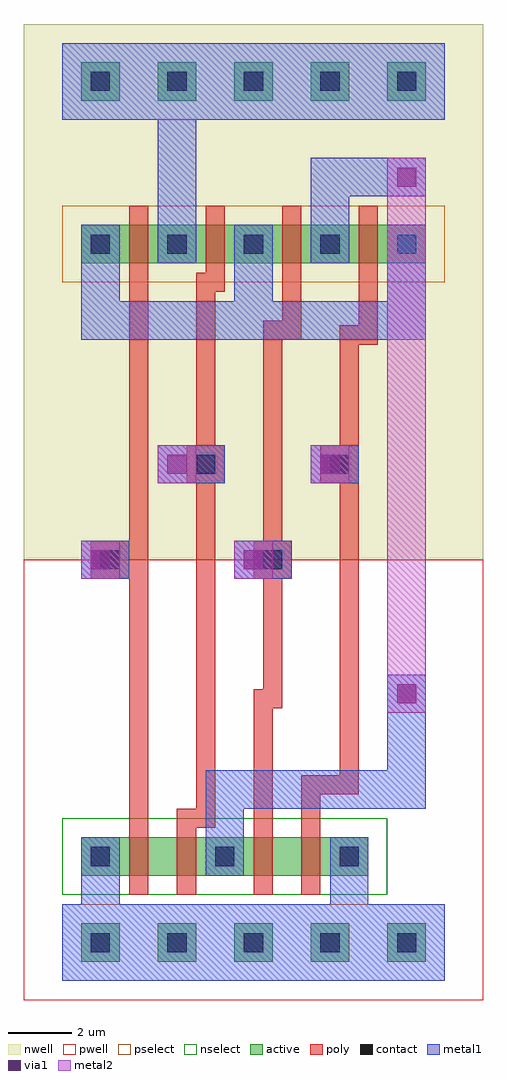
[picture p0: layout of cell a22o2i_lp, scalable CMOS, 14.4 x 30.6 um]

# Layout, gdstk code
import gdstk
lib = gdstk.Library(unit=1e-6, precision=1e-09)
def R(c, l, rs):  # rectangles x0, y0, x1, y1
    for r in rs: c.add(gdstk.rectangle(r[:2], r[2:], *l))
def A(c, l, x, y, w, h, nx, ny, dx, dy):  # array of equal rectangles
    R(c, l, [(x+i*dx, y+j*dy, x+i*dx+w, y+j*dy+h) for i in range(nx) for j in range(ny)])
contact = (25, 0)
pwell = (41, 0)
nwell = (42, 0)
active = (43, 0)
pselect = (44, 0)
nselect = (45, 0)
poly = (46, 0)
metal1 = (49, 0)
via1 = (50, 0)
metal2 = (51, 0)

a22o2i_lp = lib.new_cell('a22o2i_lp')
A(a22o2i_lp, contact, 0.3, -0.3, 0.6, 0.6, 5, 2, 2.4, 21.9)
A(a22o2i_lp, contact, 0.3, 2.4, 0.6, 0.6, 3, 1, 3.9, 0)
A(a22o2i_lp, contact, 0.3, 26.7, 0.6, 0.6, 5, 1, 2.4, 0)
R(a22o2i_lp, contact, [(0.6,11.7,1.2,12.3), (5.7,11.7,6.3,12.3), (3.6,14.7,4.2,15.3), (7.8,14.7,8.4,15.3)])
A(a22o2i_lp, pwell, -0.9, -1.5, 3, 3, 5, 1, 2.4, 0)
A(a22o2i_lp, pwell, -1.8, 0.3, 4.8, 4.8, 3, 1, 3.9, 0)
R(a22o2i_lp, pwell, [(-1.8,-1.8,12.6,12), (-1.2,0.3,4.8,5.1), (0.3,0.3,6.3,5.1), (2.7,0.3,8.7,5.1), (4.2,0.3,10.2,5.1), (-1.65,0.45,2.925,4.95), (2.175,0.45,6.75,4.95), (2.25,0.45,6.825,4.95), (3.825,0.45,9.075,4.95), (6.075,0.45,10.65,4.95), (-0.075,0.573,5.175,5.073)])
A(a22o2i_lp, nwell, -1.8, 19.5, 4.8, 4.8, 5, 1, 2.4, 0)
A(a22o2i_lp, nwell, -1.2, 19.5, 6, 4.8, 4, 1, 2.4, 0)
A(a22o2i_lp, nwell, -0.9, 25.5, 3, 3, 5, 1, 2.4, 0)
R(a22o2i_lp, nwell, [(-1.8,12,12.6,28.8), (5.475,19.5,10.125,24), (-1.65,19.65,2.925,24.15), (0.675,19.65,5.25,24.15), (0.75,19.65,5.325,24.15), (3.075,19.65,7.65,24.15), (3.15,19.65,7.725,24.15), (5.475,19.65,10.05,24.15), (5.55,19.65,10.125,24.15), (7.875,19.65,12.45,24.15)])
A(a22o2i_lp, active, 0, -0.6, 1.2, 1.2, 5, 2, 2.4, 21.9)
A(a22o2i_lp, active, 0, 2.1, 1.2, 1.2, 3, 1, 3.9, 0)
A(a22o2i_lp, active, 0.6, 21.3, 2.4, 1.2, 4, 1, 2.4, 0)
A(a22o2i_lp, active, 0, 26.4, 1.2, 1.2, 5, 1, 2.4, 0)
R(a22o2i_lp, active, [(0.6,2.1,3,3.3), (2.1,2.1,4.5,3.3), (4.5,2.1,6.9,3.3), (6,2.1,8.4,3.3), (0.15,2.25,1.125,3.15), (3.975,2.25,4.95,3.15), (4.05,2.25,5.025,3.15), (5.625,2.25,7.275,3.15), (7.875,2.25,8.85,3.15), (1.725,2.373,3.375,3.273), (7.275,21.3,8.325,22.2), (0.15,21.45,1.125,22.35), (2.475,21.45,3.45,22.35), (2.55,21.45,3.525,22.35), (4.875,21.45,5.85,22.35), (4.95,21.45,5.925,22.35), (7.275,21.45,8.25,22.35), (7.35,21.45,8.325,22.35), (9.675,21.45,10.65,22.35)])
A(a22o2i_lp, pselect, -0.6, -1.2, 2.4, 2.4, 5, 2, 2.4, 21.9)
A(a22o2i_lp, pselect, 0, 20.7, 3.6, 2.4, 4, 1, 2.4, 0)
R(a22o2i_lp, pselect, [(6.675,20.7,8.925,22.8), (-0.45,20.85,1.725,22.95), (1.875,20.85,4.05,22.95), (1.95,20.85,4.125,22.95), (4.275,20.85,6.45,22.95), (4.35,20.85,6.525,22.95), (6.675,20.85,8.85,22.95), (6.75,20.85,8.925,22.95), (9.075,20.85,11.25,22.95)])
A(a22o2i_lp, nselect, -0.6, 1.5, 2.4, 2.4, 3, 1, 3.9, 0)
A(a22o2i_lp, nselect, -0.6, 25.8, 2.4, 2.4, 5, 1, 2.4, 0)
R(a22o2i_lp, nselect, [(0,1.5,3.6,3.9), (1.5,1.5,5.1,3.9), (3.9,1.5,7.5,3.9), (5.4,1.5,9,3.9), (-0.45,1.65,1.725,3.75), (3.375,1.65,5.55,3.75), (3.45,1.65,5.625,3.75), (5.025,1.65,7.875,3.75), (7.275,1.65,9.45,3.75), (1.125,1.773,3.975,3.873)])
A(a22o2i_lp, poly, 1.5, 20.7, 0.6, 2.4, 4, 1, 2.4, 0)
R(a22o2i_lp, poly, [(1.5,1.5,2.1,3.9), (3,1.5,3.6,3.9), (5.4,1.5,6,3.9), (6.9,1.5,7.5,3.9), (1.5,3.6,2.1,12.15), (3,3.6,4.2,4.2), (3.6,3.6,4.2,15.45), (5.4,3.6,6,7.95), (6.9,3.6,7.5,5.25), (6.9,4.65,8.7,5.25), (8.1,4.65,8.7,15.3), (5.4,7.35,6.3,7.95), (5.7,7.35,6.3,12.15), (0.3,11.4,1.5,12.6), (5.4,11.4,6.6,12.6), (0.6,11.55,2.1,12.15), (1.5,11.55,2.1,21), (5.7,11.7,6.3,19.5), (3.3,14.4,4.5,15.6), (7.5,14.4,8.7,15.6), (7.8,14.7,8.7,15.3), (7.8,14.7,8.7,15.3), (8.1,14.7,8.7,19.35), (3.6,14.85,4.2,21), (8.1,18.75,9.3,19.35), (8.7,18.75,9.3,21), (5.7,18.9,6.9,19.5), (6.3,18.9,6.9,21), (3.6,20.4,4.5,21)])
A(a22o2i_lp, metal1, -0.6, -1.2, 4.8, 2.4, 4, 1, 2.4, 0)
A(a22o2i_lp, metal1, 0, -0.6, 1.2, 1.2, 5, 2, 2.4, 21.9)
A(a22o2i_lp, metal1, 0, 2.1, 1.2, 1.2, 3, 1, 3.9, 0)
A(a22o2i_lp, metal1, 0, 18.9, 1.2, 3.6, 3, 1, 4.8, 0)
A(a22o2i_lp, metal1, 0, 26.4, 1.2, 1.2, 4, 1, 2.4, 0)
R(a22o2i_lp, metal1, [(-0.6,-1.2,1.8,1.2), (-0.6,-1.2,4.2,1.2), (6.6,-1.2,9.6,1.2), (8.1,-1.2,11.4,1.2), (9,-1.2,11.4,1.2), (0,-0.6,1.2,3.3), (7.8,-0.6,9,3.3), (3.9,2.1,5.1,5.4), (3.9,4.2,10.8,5.4), (9.6,4.2,10.8,8.4), (9.6,7.2,10.8,8.4), (0,11.4,1.2,12.6), (0,11.4,1.5,12.6), (0.3,11.4,1.5,12.6), (4.8,11.4,6,12.6), (5.1,11.4,6.6,12.6), (5.4,11.4,6.6,12.6), (2.4,14.4,3.6,15.6), (2.7,14.4,4.5,15.6), (3.3,14.4,4.5,15.6), (7.2,14.4,8.4,15.6), (7.2,14.4,8.7,15.6), (7.5,14.4,8.7,15.6), (0,18.9,6,20.1), (4.8,18.9,10.8,20.1), (2.4,21.3,3.6,27.6), (7.2,21.3,8.4,24.6), (7.2,23.4,10.8,24.6), (9.6,23.4,10.8,24.6), (-0.6,25.8,1.8,28.2), (-0.6,25.8,4.2,28.2), (1.8,25.8,9,28.2), (6.6,25.8,11.4,28.2), (8.7,25.8,11.4,28.2), (8.7,25.8,11.4,28.2), (0,26.4,1.2,27.6), (4.8,26.4,8.4,27.6), (7.2,26.4,8.4,27.6), (9.6,26.4,10.8,27.6), (9.6,26.4,10.8,27.6), (9.6,26.4,10.8,27.6)])
R(a22o2i_lp, via1, [(9.9,7.5,10.5,8.1), (0.3,11.7,0.9,12.3), (5.1,11.7,5.7,12.3), (2.7,14.7,3.3,15.3), (7.5,14.7,8.1,15.3), (9.9,23.7,10.5,24.3)])
R(a22o2i_lp, metal2, [(9.6,7.2,10.8,8.4), (9.6,7.2,10.8,24.3), (0,11.4,1.2,12.6), (4.8,11.4,6,12.6), (2.4,14.4,3.6,15.6), (7.2,14.4,8.4,15.6), (9.6,23.4,10.8,24.6)])

lib.write_gds('a22o2i_lp.gds')
